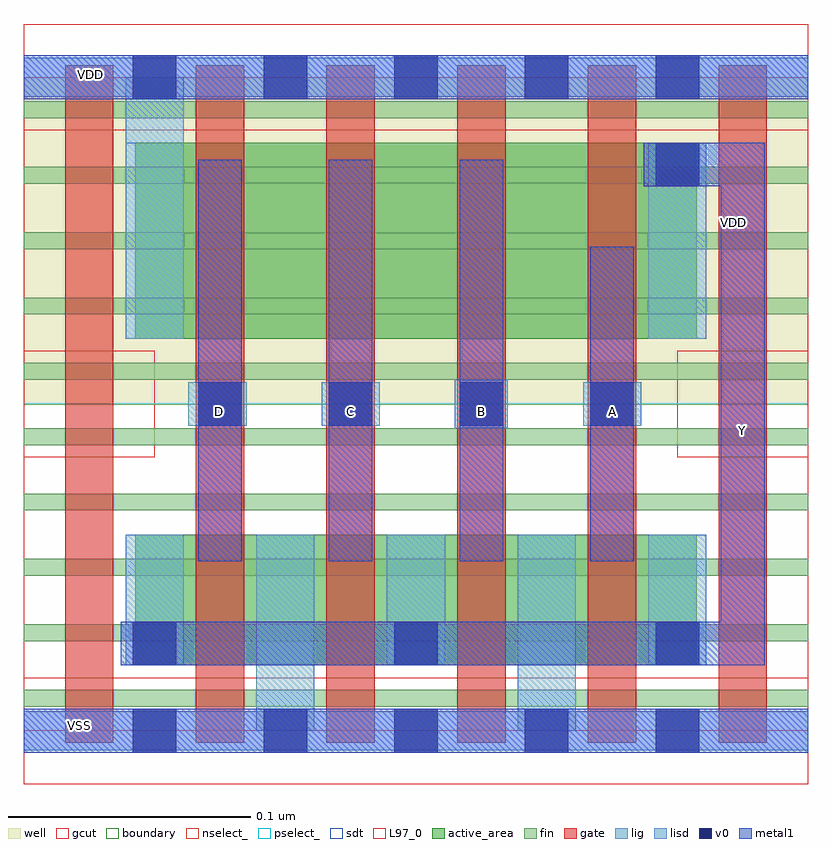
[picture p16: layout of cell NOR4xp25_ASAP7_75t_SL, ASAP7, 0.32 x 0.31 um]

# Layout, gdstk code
import gdstk
lib = gdstk.Library(unit=1e-6, precision=2.5e-10)
def R(c, l, rs):  # rectangles x0, y0, x1, y1
    for r in rs: c.add(gdstk.rectangle(r[:2], r[2:], *l))
def A(c, l, x, y, w, h, nx, ny, dx, dy):  # array of equal rectangles
    R(c, l, [(x+i*dx, y+j*dy, x+i*dx+w, y+j*dy+h) for i in range(nx) for j in range(ny)])
def P(c, l, *ps):  # polygons
    for p in ps: c.add(gdstk.Polygon(p, *l))
well = (1, 0)
fin = (2, 0)
gate = (7, 0)
gcut = (10, 0)
active_area = (11, 0)
nselect_ = (12, 0)
pselect_ = (13, 0)
lig = (16, 0)
lisd = (17, 0)
v0 = (18, 0)
metal1 = (19, 0)
sdt = (88, 0)
L97_0 = (97, 0)
boundary = (100, 0)

nor4xp25_asap7_75t_sl = lib.new_cell('NOR4xp25_ASAP7_75t_SL')
R(nor4xp25_asap7_75t_sl, well, [(0,0.135,0.324,0.27)])
A(nor4xp25_asap7_75t_sl, fin, 0, 0.01, 0.324, 0.007, 1, 10, 0, 0.027)
A(nor4xp25_asap7_75t_sl, gate, 0.017, -0.005, 0.02, 0.28, 6, 1, 0.054, 0)
R(nor4xp25_asap7_75t_sl, gcut, [(0,-0.022,0.324,0.022), (0,0.113,0.054,0.157), (0.27,0.113,0.324,0.157), (0,0.248,0.324,0.292)])
R(nor4xp25_asap7_75t_sl, active_area, [(0.046,0.027,0.278,0.081), (0.046,0.162,0.278,0.243)])
R(nor4xp25_asap7_75t_sl, nselect_, [(0,0,0.324,0.135)])
R(nor4xp25_asap7_75t_sl, pselect_, [(0,0.135,0.324,0.27)])
R(nor4xp25_asap7_75t_sl, lig, [(0,-0.008,0.324,0.008), (0.178,0.125,0.2,0.145), (0.068,0.126,0.092,0.144), (0.123,0.126,0.147,0.144), (0.231,0.126,0.255,0.144), (0,0.262,0.324,0.278)])
A(nor4xp25_asap7_75t_sl, lisd, 0.042, 0.027, 0.024, 0.054, 3, 1, 0.108, 0)
R(nor4xp25_asap7_75t_sl, lisd, [(0.096,0,0.12,0.081), (0.204,0,0.228,0.081), (0.042,0.162,0.066,0.27), (0.258,0.162,0.282,0.243)])
A(nor4xp25_asap7_75t_sl, v0, 0.045, -0.009, 0.018, 0.018, 5, 2, 0.054, 0.27)
A(nor4xp25_asap7_75t_sl, v0, 0.045, 0.027, 0.018, 0.018, 3, 1, 0.108, 0)
A(nor4xp25_asap7_75t_sl, v0, 0.072, 0.126, 0.018, 0.018, 4, 1, 0.054, 0)
R(nor4xp25_asap7_75t_sl, v0, [(0.261,0.225,0.279,0.243)])
A(nor4xp25_asap7_75t_sl, metal1, 0.072, 0.07, 0.018, 0.166, 3, 1, 0.054, 0)
R(nor4xp25_asap7_75t_sl, metal1, [(0,-0.009,0.324,0.009), (0.234,0.07,0.252,0.2), (0,0.261,0.324,0.279)])
P(nor4xp25_asap7_75t_sl, metal1, [(0.306,0.243),(0.256,0.243),(0.256,0.225),(0.288,0.225),(0.288,0.045),(0.04,0.045),(0.04,0.027),(0.306,0.027)])
A(nor4xp25_asap7_75t_sl, sdt, 0.042, 0.027, 0.024, 0.054, 5, 1, 0.054, 0)
R(nor4xp25_asap7_75t_sl, sdt, [(0.042,0.162,0.066,0.243), (0.258,0.162,0.282,0.243)])
R(nor4xp25_asap7_75t_sl, L97_0, [(0,0,0.324,0.27)])
R(nor4xp25_asap7_75t_sl, boundary, [(0,0,0.324,0.27)])
nor4xp25_asap7_75t_sl.add(gdstk.Label('C', (0.135,0.132), layer=19, texttype=251))
nor4xp25_asap7_75t_sl.add(gdstk.Label('B', (0.189,0.132), layer=19, texttype=251))
nor4xp25_asap7_75t_sl.add(gdstk.Label('A', (0.243,0.132), layer=19, texttype=251))
nor4xp25_asap7_75t_sl.add(gdstk.Label('D', (0.081,0.132), layer=19, texttype=251))
nor4xp25_asap7_75t_sl.add(gdstk.Label('Y', (0.297,0.124), layer=19, texttype=251))
nor4xp25_asap7_75t_sl.add(gdstk.Label('VDD', (0.0275,0.271), layer=19, texttype=251))
nor4xp25_asap7_75t_sl.add(gdstk.Label('VSS', (0.023,0.002), layer=19, texttype=251))
nor4xp25_asap7_75t_sl.add(gdstk.Label('VDD', (0.293,0.21), layer=1, texttype=251))
nor4xp25_asap7_75t_sl.add(gdstk.Label('VSS', (0.362,0.209), layer=3, texttype=251))

lib.write_gds('NOR4xp25_ASAP7_75t_SL.gds')
